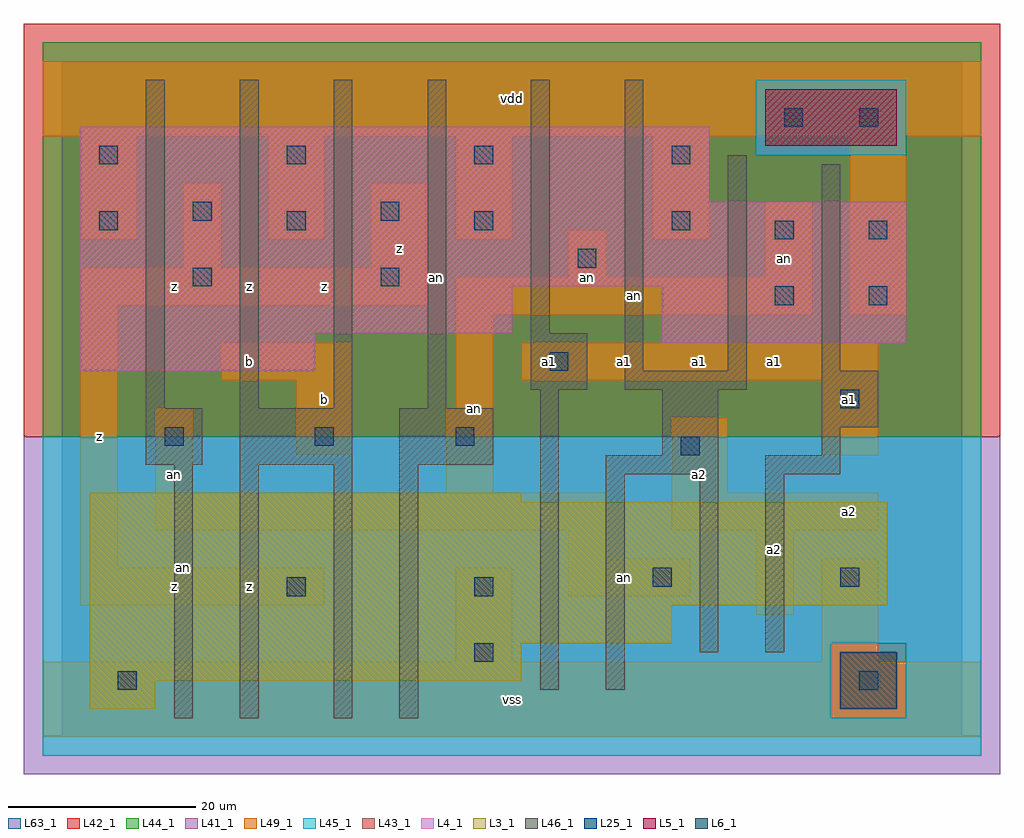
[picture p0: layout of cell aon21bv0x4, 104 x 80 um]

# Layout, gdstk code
import gdstk
lib = gdstk.Library(unit=1e-6, precision=1e-09)
def R(c, l, rs):  # rectangles x0, y0, x1, y1
    for r in rs: c.add(gdstk.rectangle(r[:2], r[2:], *l))
def A(c, l, x, y, w, h, nx, ny, dx, dy):  # array of equal rectangles
    R(c, l, [(x+i*dx, y+j*dy, x+i*dx+w, y+j*dy+h) for i in range(nx) for j in range(ny)])
L3_1 = (3, 1)
L4_1 = (4, 1)
L5_1 = (5, 1)
L6_1 = (6, 1)
L25_1 = (25, 1)
L41_1 = (41, 1)
L42_1 = (42, 1)
L43_1 = (43, 1)
L44_1 = (44, 1)
L45_1 = (45, 1)
L46_1 = (46, 1)
L49_1 = (49, 1)
L63_1 = (63, 1)

aon21bv0x4 = lib.new_cell('aon21bv0x4')
R(aon21bv0x4, L3_1, [(3,3,10,6), (3,6,49,10), (3,10,65,14), (3,14,88,25), (3,25,49,26)])
R(aon21bv0x4, L4_1, [(2,39,27,43), (64,42,90,48), (2,43,48,48), (2,48,90,57), (2,57,69,65)])
R(aon21bv0x4, L5_1, [(75,63,89,69)])
R(aon21bv0x4, L6_1, [(83,3,89,9), (83,3,89,9)])
A(aon21bv0x4, L25_1, 4, 54, 2, 2, 3, 2, 20, 7)
R(aon21bv0x4, L25_1, [(6,5,8,7), (85,5,87,7), (44,8,46,10), (24,15,26,17), (44,15,46,17), (63,16,65,18), (83,16,85,18), (66,30,68,32), (11,31,13,33), (27,31,29,33), (42,31,44,33), (83,35,85,37), (52,39,54,41), (76,46,78,48), (86,46,88,48), (14,48,16,50), (34,48,36,50), (55,50,57,52), (76,53,78,55), (86,53,88,55), (65,54,67,56), (14,55,16,57), (34,55,36,57), (65,61,67,63), (77,65,79,67), (85,65,87,67)])
R(aon21bv0x4, L41_1, [(-4,-4,100,32)])
R(aon21bv0x4, L42_1, [(-4,32,100,76)])
R(aon21bv0x4, L43_1, [(3,3,10,6), (83,3,89,9), (3,6,49,10), (3,10,65,14), (3,14,88,25), (3,25,49,26), (2,39,27,43), (64,42,90,48), (2,43,48,48), (2,48,90,57), (2,57,69,65), (75,63,89,69)])
R(aon21bv0x4, L44_1, [(82,2,90,10), (-2,32,98,62), (-2,62,74,70), (90,62,98,70), (-2,70,98,74)])
R(aon21bv0x4, L45_1, [(-2,-2,98,2), (-2,2,82,10), (90,2,98,10), (-2,10,98,32), (74,62,90,70)])
A(aon21bv0x4, L46_1, 9, 35, 2, 35, 4, 1, 10, 0)
R(aon21bv0x4, L46_1, [(12,2,14,29), (19,2,21,29), (29,2,31,29), (36,2,38,29), (51,5,53,37), (58,5,60,28), (68,9,70,28), (75,9,77,28), (58,28,70,30), (75,28,83,30), (9,29,15,35), (19,29,31,35), (36,29,46,35), (64,30,70,37), (81,30,83,33), (81,33,87,39), (50,37,56,43), (60,37,73,39), (60,39,62,70), (71,39,73,62), (81,39,83,61), (50,43,52,70)])
A(aon21bv0x4, L49_1, 2, 53, 6, 11, 3, 1, 20, 0)
R(aon21bv0x4, L49_1, [(-2,0,98,8), (42,8,48,18), (81,8,87,19), (74,13,78,22), (2,14,28,18), (54,15,67,19), (2,18,6,46), (54,19,58,22), (10,22,58,26), (65,22,87,26), (10,26,14,35), (41,26,46,35), (65,26,71,34), (25,30,31,38), (81,30,87,38), (42,35,46,45), (17,38,31,42), (49,38,87,42), (42,45,80,49), (84,45,90,64), (2,46,39,50), (54,49,58,54), (75,49,80,57), (13,50,17,59), (33,50,39,59), (63,53,69,64), (-2,64,98,72)])
R(aon21bv0x4, L63_1, [(0,0,96,72)])
aon21bv0x4.add(gdstk.Label('an', (13,18), layer=46, texttype=1))
aon21bv0x4.add(gdstk.Label('an', (40,49), layer=46, texttype=1))
aon21bv0x4.add(gdstk.Label('z', (12,16), layer=49, texttype=1))
aon21bv0x4.add(gdstk.Label('z', (4,32), layer=49, texttype=1))
aon21bv0x4.add(gdstk.Label('an', (12,28), layer=49, texttype=1))
aon21bv0x4.add(gdstk.Label('z', (12,48), layer=49, texttype=1))
aon21bv0x4.add(gdstk.Label('z', (20,16), layer=49, texttype=1))
aon21bv0x4.add(gdstk.Label('b', (20,40), layer=49, texttype=1))
aon21bv0x4.add(gdstk.Label('b', (28,36), layer=49, texttype=1))
aon21bv0x4.add(gdstk.Label('z', (20,48), layer=49, texttype=1))
aon21bv0x4.add(gdstk.Label('z', (28,48), layer=49, texttype=1))
aon21bv0x4.add(gdstk.Label('vss', (48,4), layer=49, texttype=1))
aon21bv0x4.add(gdstk.Label('a1', (52,40), layer=49, texttype=1))
aon21bv0x4.add(gdstk.Label('an', (44,35), layer=49, texttype=1))
aon21bv0x4.add(gdstk.Label('z', (36,52), layer=49, texttype=1))
aon21bv0x4.add(gdstk.Label('an', (56,49), layer=49, texttype=1))
aon21bv0x4.add(gdstk.Label('vdd', (48,68), layer=49, texttype=1))
aon21bv0x4.add(gdstk.Label('an', (60,17), layer=49, texttype=1))
aon21bv0x4.add(gdstk.Label('a2', (76,20), layer=49, texttype=1))
aon21bv0x4.add(gdstk.Label('a2', (68,28), layer=49, texttype=1))
aon21bv0x4.add(gdstk.Label('a1', (60,40), layer=49, texttype=1))
aon21bv0x4.add(gdstk.Label('a1', (68,40), layer=49, texttype=1))
aon21bv0x4.add(gdstk.Label('a1', (76,40), layer=49, texttype=1))
aon21bv0x4.add(gdstk.Label('a2', (84,24), layer=49, texttype=1))
aon21bv0x4.add(gdstk.Label('a1', (84,36), layer=49, texttype=1))
aon21bv0x4.add(gdstk.Label('an', (61,47), layer=49, texttype=1))
aon21bv0x4.add(gdstk.Label('an', (77,51), layer=49, texttype=1))

lib.write_gds('aon21bv0x4.gds')
